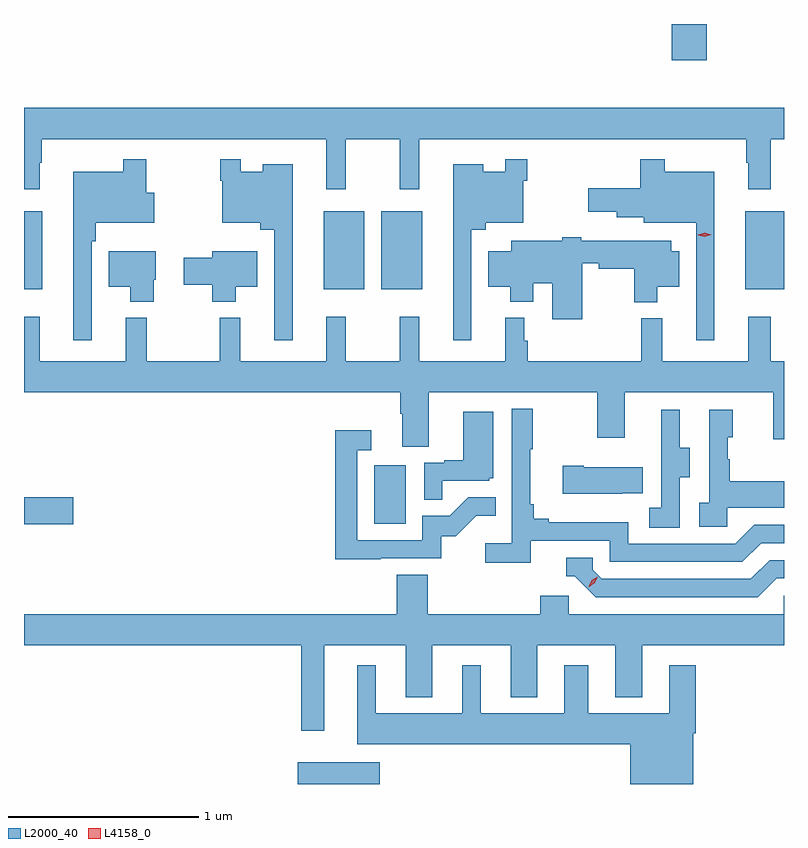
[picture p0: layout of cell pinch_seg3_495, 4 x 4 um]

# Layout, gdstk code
import gdstk
lib = gdstk.Library(unit=1e-6, precision=1e-09)
def R(c, l, rs):  # rectangles x0, y0, x1, y1
    for r in rs: c.add(gdstk.rectangle(r[:2], r[2:], *l))
def P(c, l, *ps):  # polygons
    for p in ps: c.add(gdstk.Polygon(p, *l))
L2000_40 = (2000, 40)
L4158_0 = (4158, 0)

pinch_seg3_495 = lib.new_cell('pinch_seg3_495')
R(pinch_seg3_495, L2000_40, [(997.862,673.546,998.293,673.66), (996.42,674.914,996.679,675.056), (998.264,674.916,998.428,675.223), (996.42,676.151,996.517,676.561), (997.997,676.151,998.212,676.561), (998.3,676.151,998.515,676.561), (1000.217,676.151,1000.42,676.561), (999.83,677.355,1000.013,677.546)])
P(pinch_seg3_495, L2000_40, [(996.42,676.677),(996.502,676.677),(996.502,676.817),(996.514,676.817),(996.514,676.94),(998.012,676.94),(998.012,676.677),(998.114,676.677),(998.114,676.94),(998.398,676.94),(998.398,676.677),(998.5,676.677),(998.5,676.94),(1000.221,676.94),(1000.221,676.817),(1000.232,676.817),(1000.232,676.677),(1000.349,676.677),(1000.349,676.94),(1000.42,676.94),(1000.42,677.104),(996.42,677.104)],
  [(996.777,676.403),(996.797,676.403),(996.797,676.499),(997.105,676.499),(997.105,676.657),(997.063,676.657),(997.063,676.834),(996.942,676.834),(996.942,676.768),(996.68,676.768),(996.68,675.882),(996.777,675.882)],
  [(1000.054,676.768),(999.793,676.768),(999.793,676.834),(999.664,676.834),(999.664,676.681),(999.39,676.681),(999.39,676.559),(999.539,676.559),(999.539,676.529),(999.683,676.529),(999.683,676.499),(999.957,676.499),(999.957,675.882),(1000.054,675.882)],
  [(998.775,676.463),(998.849,676.463),(998.849,676.499),(999.048,676.499),(999.048,676.721),(999.068,676.721),(999.068,676.834),(998.952,676.834),(998.952,676.768),(998.836,676.768),(998.836,676.807),(998.678,676.807),(998.678,675.882),(998.775,675.882)],
  [(997.834,676.807),(997.676,676.807),(997.676,676.768),(997.56,676.768),(997.56,676.834),(997.452,676.834),(997.452,676.721),(997.464,676.721),(997.464,676.499),(997.664,676.499),(997.664,676.463),(997.737,676.463),(997.737,675.882),(997.834,675.882)],
  [(999.358,676.288),(999.446,676.288),(999.446,676.258),(999.632,676.258),(999.632,676.082),(999.754,676.082),(999.754,676.163),(999.868,676.163),(999.868,676.351),(999.826,676.351),(999.826,676.404),(999.354,676.404),(999.354,676.424),(999.254,676.424),(999.254,676.405),(998.984,676.405),(998.984,676.351),(998.864,676.351),(998.864,676.163),(998.978,676.163),(998.978,676.085),(999.1,676.085),(999.1,676.181),(999.2,676.181),(999.2,675.993),(999.358,675.993)],
  [(997.534,676.163),(997.648,676.163),(997.648,676.351),(997.412,676.351),(997.412,676.316),(997.26,676.316),(997.26,676.174),(997.412,676.174),(997.412,676.085),(997.534,676.085)],
  [(997.102,676.2),(997.114,676.2),(997.114,676.351),(996.866,676.351),(996.866,676.163),(996.98,676.163),(996.98,676.085),(997.102,676.085)],
  [(998.551,675.608),(999.436,675.608),(999.436,675.369),(999.583,675.369),(999.583,675.608),(1000.364,675.608),(1000.364,675.36),(1000.42,675.36),(1000.42,675.772),(1000.349,675.772),(1000.349,676.006),(1000.232,676.006),(1000.232,675.772),(999.779,675.772),(999.779,675.997),(999.669,675.997),(999.669,675.772),(999.071,675.772),(999.071,675.879),(999.052,675.879),(999.052,676),(998.954,676),(998.954,675.772),(998.501,675.772),(998.501,676.006),(998.398,676.006),(998.398,675.772),(998.114,675.772),(998.114,676.006),(998.012,676.006),(998.012,675.772),(997.559,675.772),(997.559,676),(997.449,676),(997.449,675.772),(997.066,675.772),(997.066,676),(996.956,676),(996.956,675.772),(996.503,675.772),(996.503,676.006),(996.42,676.006),(996.42,675.608),(998.399,675.608),(998.399,675.496),(998.411,675.496),(998.411,675.322),(998.551,675.322)],
  [(999.086,674.826),(999.504,674.826),(999.504,674.715),(1000.201,674.715),(1000.3,674.814),(1000.42,674.814),(1000.42,674.91),(1000.263,674.91),(1000.164,674.811),(999.6,674.811),(999.6,674.923),(999.181,674.923),(999.181,674.942),(999.104,674.942),(999.104,675.019),(999.085,675.019),(999.085,675.307),(999.097,675.307),(999.097,675.52),(998.988,675.52),(998.988,674.812),(998.847,674.812),(998.847,674.71),(999.086,674.71)],
  [(1000.122,674.999),(1000.42,674.999),(1000.42,675.139),(1000.135,675.139),(1000.135,675.254),(1000.125,675.254),(1000.125,675.372),(1000.15,675.372),(1000.15,675.517),(1000.026,675.517),(1000.026,675.026),(999.975,675.026),(999.975,674.901),(1000.122,674.901)],
  [(999.87,675.16),(999.925,675.16),(999.925,675.315),(999.871,675.315),(999.871,675.517),(999.773,675.517),(999.773,675.303),(999.774,675.303),(999.774,674.999),(999.711,674.999),(999.711,674.896),(999.87,674.896)],
  [(998.621,675.141),(998.868,675.141),(998.868,675.156),(998.89,675.156),(998.89,675.505),(998.732,675.505),(998.732,675.25),(998.633,675.25),(998.633,675.237),(998.526,675.237),(998.526,675.043),(998.621,675.043)],
  [(998.297,674.733),(998.616,674.733),(998.616,674.85),(998.692,674.85),(998.799,674.957),(998.903,674.957),(998.903,675.056),(998.759,675.056),(998.661,674.958),(998.517,674.958),(998.517,674.829),(998.175,674.829),(998.175,675.303),(998.248,675.303),(998.248,675.409),(998.059,675.409),(998.059,674.728),(998.297,674.728)],
  [(999.569,675.077),(999.677,675.077),(999.677,675.214),(999.367,675.214),(999.367,675.222),(999.255,675.222),(999.255,675.074),(999.569,675.074)],
  [(1000.381,674.628),(1000.42,674.628),(1000.42,674.724),(1000.344,674.724),(1000.245,674.625),(999.462,674.625),(999.414,674.673),(999.414,674.736),(999.275,674.736),(999.275,674.64),(999.318,674.64),(999.429,674.529),(1000.282,674.529)],
  [(998.546,674.648),(998.381,674.648),(998.381,674.44),(996.42,674.44),(996.42,674.276),(997.878,674.276),(997.878,673.827),(997.999,673.827),(997.999,674.276),(998.429,674.276),(998.429,674.003),(998.569,674.003),(998.569,674.276),(998.981,674.276),(998.981,674.003),(999.121,674.003),(999.121,674.276),(999.533,674.276),(999.533,674.003),(999.673,674.003),(999.673,674.276),(1000.42,674.276),(1000.42,674.538),(1000.419,674.538),(1000.419,674.44),(999.288,674.44),(999.288,674.538),(999.137,674.538),(999.137,674.44),(998.546,674.44)],
  [(999.943,673.814),(999.956,673.814),(999.956,674.17),(999.815,674.17),(999.815,673.918),(999.391,673.918),(999.391,674.17),(999.263,674.17),(999.263,673.918),(998.824,673.918),(998.824,674.17),(998.726,674.17),(998.726,673.918),(998.272,673.918),(998.272,674.17),(998.174,674.17),(998.174,673.754),(999.611,673.754),(999.611,673.546),(999.943,673.546)])
P(pinch_seg3_495, L4158_0, [(1000.003,676.427),(999.968,676.435),(999.967,676.436),(999.968,676.436),(1000.002,676.447),(1000.037,676.438),(1000.038,676.438),(1000.037,676.438)],
  [(999.393,674.584),(999.393,674.585),(999.409,674.618),(999.44,674.638),(999.44,674.638),(999.44,674.637),(999.424,674.604),(999.394,674.584)])

lib.write_gds('pinch_seg3_495.gds')
